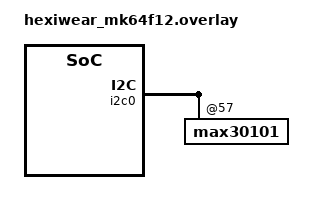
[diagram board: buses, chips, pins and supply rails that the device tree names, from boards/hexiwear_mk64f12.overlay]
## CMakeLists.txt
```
# SPDX-License-Identifier: Apache-2.0

cmake_minimum_required(VERSION 3.15.7)
find_package(Zephyr REQUIRED HINTS $ENV{ZEPHYR_BASE})
project(max30101)

FILE(GLOB app_sources src/*.c)
target_sources(app PRIVATE ${app_sources})
```

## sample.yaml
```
sample:
  description: TBD
  name: TBD
tests:
  sample.sensor.max30101:
    harness: sensor
    tags: sensors
    platform_allow:
      - hexiwear/mk64f12
    depends_on: i2c
```

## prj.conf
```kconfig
CONFIG_STDOUT_CONSOLE=y
CONFIG_LOG=y
CONFIG_I2C=y
CONFIG_SENSOR=y
CONFIG_SENSOR_LOG_LEVEL_DBG=y
CONFIG_MAX30101=y
CONFIG_MAX30101_RINGBUFFER_SIZE=32
#CONFIG_MAX30101_TRIGGER_OWN_THREAD=y
CONFIG_MAX30101_TRIGGER_GLOBAL_THREAD=y
```

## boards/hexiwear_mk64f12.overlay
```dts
/*
 * Copyright (c) 2019, Linaro Ltd.
 *
 * SPDX-License-Identifier: Apache-2.0
 */

&i2c0 {
	max30101@57 {
		status = "okay";
	};
};

&gpioa {
	status = "okay";
};
```

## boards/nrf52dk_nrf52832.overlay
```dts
/*
 * Copyright (c) 2021, Silvano Cortesi
 * Copyright (c) 2021, ETH Zürich
 *
 * SPDX-License-Identifier: Apache-2.0
 */

&i2c0 {
	max30101@57 {
		compatible = "maxim,max30101";
		reg = <0x57>;
		label = "MAX30101";
		status = "okay";
	};
};
```

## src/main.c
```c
/*
 * Copyright (c) 2017, NXP
 *
 * SPDX-License-Identifier: Apache-2.0
 */

#include <zephyr/kernel.h>
#include <zephyr/drivers/sensor.h>
#include <stdio.h>

int main(void)
{
	struct sensor_value green;
	const struct device *const dev = DEVICE_DT_GET_ANY(maxim_max30101);

	if (dev == NULL) {
		printf("Could not get max30101 device\n");
		return 0;
	}
	if (!device_is_ready(dev)) {
		printf("max30101 device %s is not ready\n", dev->name);
		return 0;
	}

	while (1) {
		sensor_sample_fetch(dev);
		sensor_channel_get(dev, SENSOR_CHAN_GREEN, &green);

		/* Print green LED data*/
		printf("GREEN=%d\n", green.val1);

		k_sleep(K_MSEC(20));
	}
	return 0;
}
```
